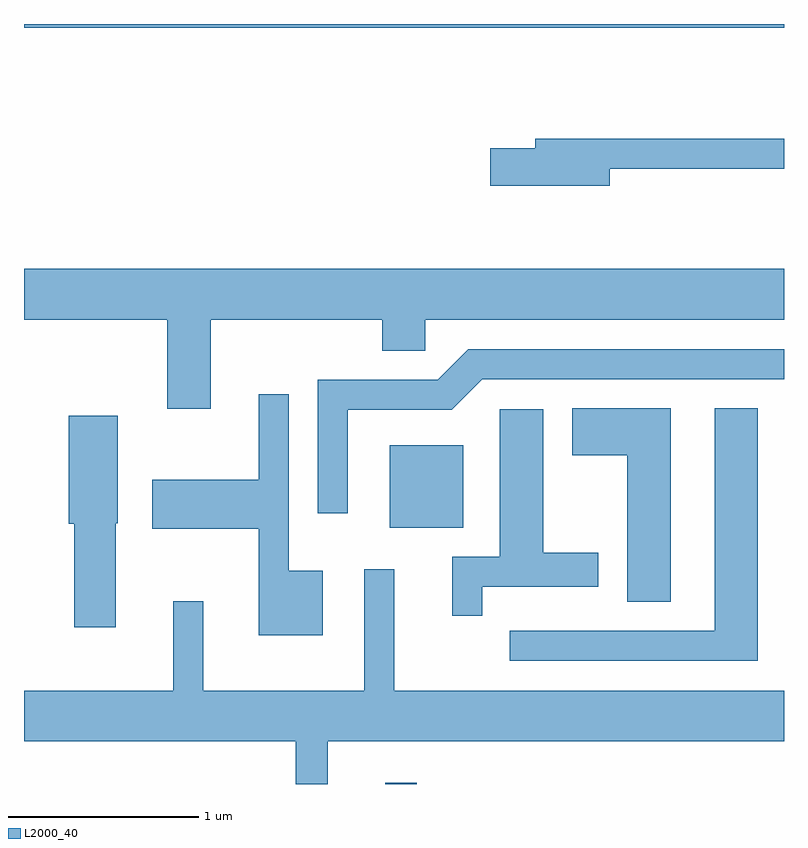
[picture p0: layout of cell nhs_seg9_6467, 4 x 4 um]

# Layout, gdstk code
import gdstk
lib = gdstk.Library(unit=1e-6, precision=1e-09)
def R(c, l, rs):  # rectangles x0, y0, x1, y1
    for r in rs: c.add(gdstk.rectangle(r[:2], r[2:], *l))
def P(c, l, *ps):  # polygons
    for p in ps: c.add(gdstk.Polygon(p, *l))
L2000_40 = (2000, 40)

nhs_seg9_6467 = lib.new_cell('nhs_seg9_6467')
R(nhs_seg9_6467, L2000_40, [(377.511,2040.432,377.679,2040.438), (377.536,2041.781,377.924,2042.214), (375.611,2044.411,379.611,2044.432)])
P(nhs_seg9_6467, L2000_40, [(378.694,2043.671),(379.611,2043.671),(379.611,2043.829),(378.301,2043.829),(378.301,2043.779),(378.066,2043.779),(378.066,2043.581),(378.694,2043.581)],
  [(376.594,2042.876),(377.496,2042.876),(377.496,2042.711),(377.724,2042.711),(377.724,2042.876),(379.611,2042.876),(379.611,2043.144),(375.611,2043.144),(375.611,2042.876),(376.366,2042.876),(376.366,2042.406),(376.594,2042.406)],
  [(377.314,2042.401),(377.862,2042.401),(378.022,2042.561),(379.611,2042.561),(379.611,2042.719),(377.949,2042.719),(377.789,2042.559),(377.156,2042.559),(377.156,2041.858),(377.314,2041.858)],
  [(377.184,2041.554),(377.004,2041.554),(377.004,2042.483),(376.846,2042.483),(376.846,2042.034),(376.286,2042.034),(376.286,2041.776),(376.846,2041.776),(376.846,2041.216),(377.184,2041.216)],
  [(379.474,2042.409),(379.246,2042.409),(379.246,2041.239),(378.168,2041.239),(378.168,2041.081),(379.474,2041.081)],
  [(379.014,2042.409),(378.496,2042.409),(378.496,2042.161),(378.786,2042.161),(378.786,2041.391),(379.014,2041.391)],
  [(378.024,2041.471),(378.634,2041.471),(378.634,2041.649),(378.344,2041.649),(378.344,2042.404),(378.116,2042.404),(378.116,2041.629),(377.866,2041.629),(377.866,2041.318),(378.024,2041.318)],
  [(376.094,2041.805),(376.104,2041.805),(376.104,2042.369),(375.846,2042.369),(375.846,2041.801),(375.876,2041.801),(375.876,2041.256),(376.094,2041.256)],
  [(377.209,2040.656),(379.611,2040.656),(379.611,2040.924),(377.559,2040.924),(377.559,2041.563),(377.401,2041.563),(377.401,2040.924),(376.554,2040.924),(376.554,2041.393),(376.396,2041.393),(376.396,2040.924),(375.611,2040.924),(375.611,2040.656),(377.041,2040.656),(377.041,2040.432),(377.209,2040.432)])

lib.write_gds('nhs_seg9_6467.gds')
